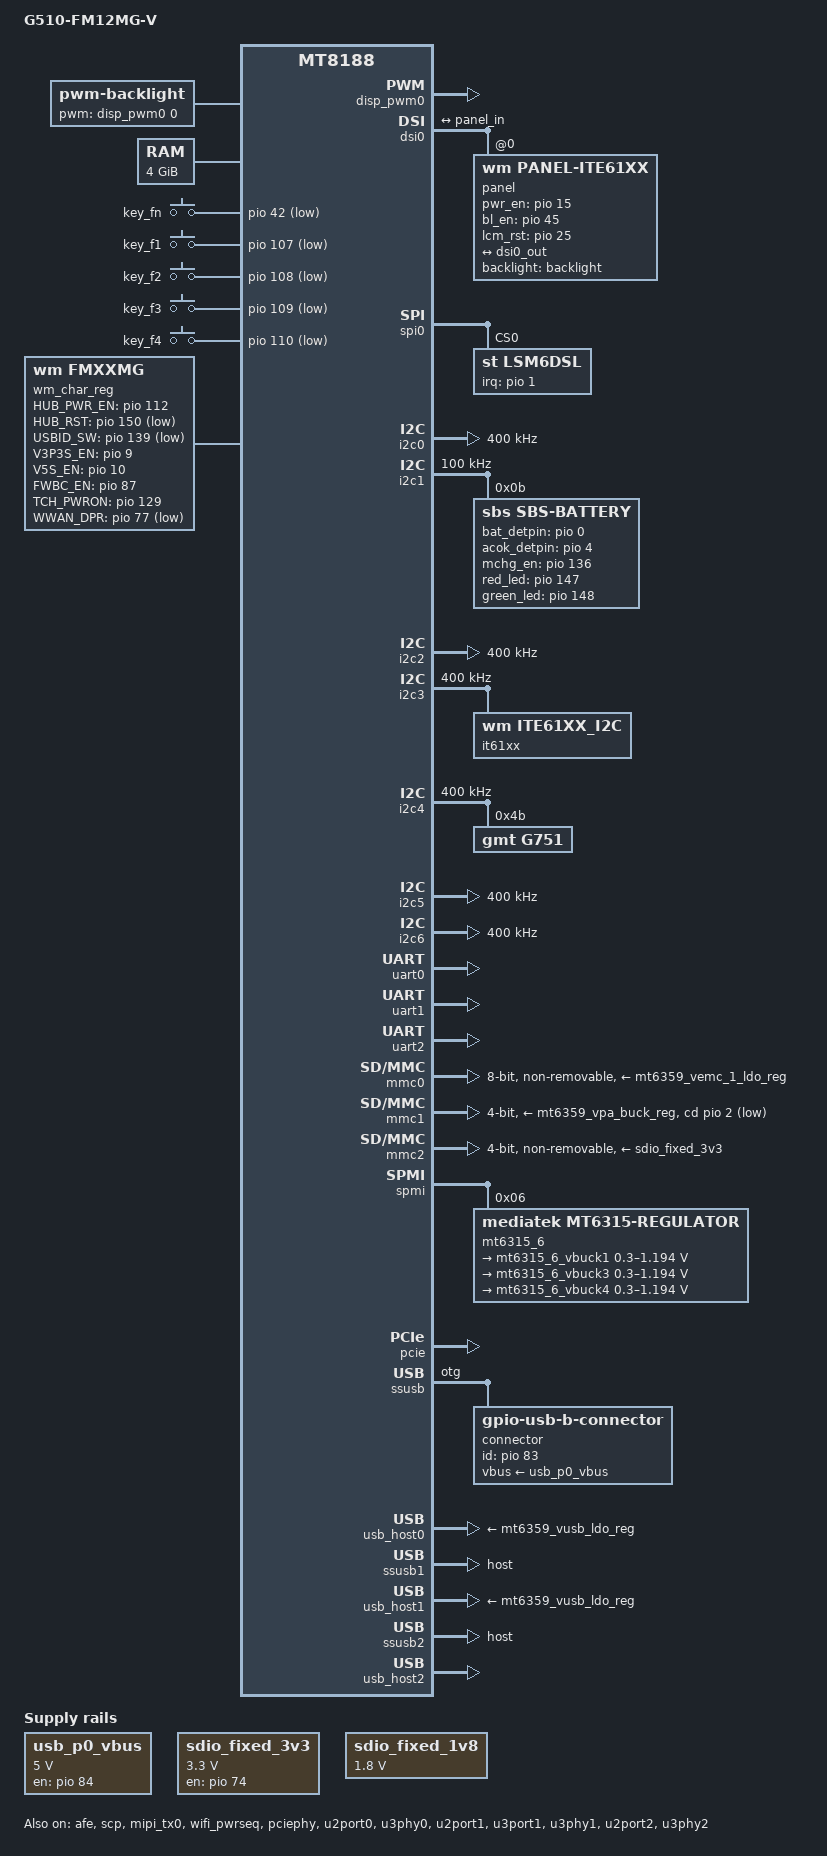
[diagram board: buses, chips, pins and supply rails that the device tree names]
// SPDX-License-Identifier: (GPL-2.0 OR MIT)
/*
 * Copyright (C) 2022 MediaTek Inc.
 * Author: Chris Chen <chris-qj.chen@mediatek.com>
 */
/dts-v1/;
#include "mt8370.dtsi"
#include "mt6359.dtsi"
#include <dt-bindings/gpio/gpio.h>
#include <dt-bindings/input/input.h>
#include <dt-bindings/interrupt-controller/irq.h>
#include <dt-bindings/pinctrl/mediatek,mt8188-pinfunc.h>
#include <dt-bindings/usb/pd.h>
#include <dt-bindings/panel/paneltype.h>

#define DEF_GPIO_HIGH 	1
#define DEF_GPIO_LOW 	0

/ {
	model = "G510-FM12MG-V";
	compatible = "mediatek,mt8370-evk", "mediatek,mt8188";

	aliases {
		serial0 = &uart0;
		dsi0 = &dsi0;
		ethernet0 = &eth;
	};

	backlight: backlight {
		compatible = "pwm-backlight";
		pwms = <&disp_pwm0 0 PWM_FEQ>;
		brightness-levels = <40 1023>;
		num-interpolated-steps = <1023>;
		default-brightness-level = <576>;
		enable-active-high;
		status = "okay";
	};	

	chosen {
		stdout-path = "serial0:921600n8";
	};

	memory@40000000 {
		device_type = "memory";
		reg = <0 0x40000000 0x1 0x00000000>;//ram size--> 0x2: 8G 0x1:4G
	};

	reserved-memory {
		#address-cells = <2>;
		#size-cells = <2>;
		ranges;

		apu_reserve_memory: apu-reserve-memory{
			compatible = "shared-dma-pool";
			size = <0 0x1400000>; //20 MB
			alignment = <0 0x10000>;
			reg = <0 0x55000000 0 0x1400000>;
		};

		vpu_reserve_memory: vpu-reserve-memory {
			compatible = "shared-dma-pool";
			size = <0 0x1400000>; //20 MB
			alignment = <0 0x10000>;
			reg = <0 0x57000000 0 0x1400000>;
		};

		/* 12 MiB reserved for OP-TEE (BL32)
		 * +-----------------------+ 0x43e0_0000
		 * |      SHMEM 2MiB       |
		 * +-----------------------+ 0x43c0_0000
		 * |        | TA_RAM  8MiB |
		 * + TZDRAM +--------------+ 0x4340_0000
		 * |        | TEE_RAM 2MiB |
		 * +-----------------------+ 0x4320_0000
		 */
		optee_reserved: optee@43200000 {
			no-map;
			reg = <0 0x43200000 0 0x00c00000>;
		};

		scp_mem_reserved: scp-mem-region {
			compatible = "shared-dma-pool";
			reg = <0 0x50000000 0 0x2900000>;
			no-map;
		};

		/* 2 MiB reserved for ARM Trusted Firmware (BL31) */
		bl31_secmon_reserved: secmon@54600000 {
			no-map;
			reg = <0 0x54600000 0x0 0x200000>;
		};
	};

	gpio-keys {
		compatible = "gpio-keys";
		input-name = "gpio-keys";
		pinctrl-names = "default";
		pinctrl-0 = <&gpio_keys>;
		status = "okay";

		key_fn {
				label = "key_fn";
				gpios = <&pio 42 GPIO_ACTIVE_LOW>;
				linux,input-type = <1>;
				linux,code = <0x1d0>;// KEY_FN <0x1d0>
				debounce-interval = <15>;
		};

		key_f1 {
				label = "key_f1";
				gpios = <&pio 107 GPIO_ACTIVE_LOW>;
				linux,input-type = <1>;
				linux,code = <59>;// KEY_F1 <60>
				debounce-interval = <15>;
		};

		key_f2 {
				label = "key_f2";
				gpios = <&pio 108 GPIO_ACTIVE_LOW>;
				linux,input-type = <1>;
				linux,code = <60>;// KEY_F2 <61>
				debounce-interval = <15>;
		};

		key_f3 {
				label = "key_f3";
				gpios = <&pio 109 GPIO_ACTIVE_LOW>;
				linux,input-type = <1>;
				linux,code = <61>;// KEY_F3 <62>
				debounce-interval = <15>;
		};

		key_f4 {
				label = "key_f4";
				gpios = <&pio 110 GPIO_ACTIVE_LOW>;
				linux,input-type = <1>;
				linux,code = <62>;// KEY_F4 <63>
				debounce-interval = <15>;
		};

	};

	firmware {
		optee {
			compatible = "linaro,optee-tz";
			method = "smc";
		};
	};

	usb_p0_vbus: usb0-otg-vbus {
		compatible = "regulator-fixed";
		regulator-name = "p0_vbus";
		regulator-min-microvolt = <5000000>;
		regulator-max-microvolt = <5000000>;
		gpio = <&pio 84 GPIO_ACTIVE_HIGH>;
		enable-active-high;
	};

	sdio_fixed_3v3: regulator@2 {
		compatible = "regulator-fixed";
		regulator-name = "sdio_card";
		regulator-min-microvolt = <3300000>;
		regulator-max-microvolt = <3300000>;
		gpio = <&pio 74 0>;
		regulator-boot-on;
		enable-active-high;
		regulator-always-on;
	};

	sdio_fixed_1v8: regulator@3 {
		compatible = "regulator-fixed";
		regulator-name = "sdio_io";
		regulator-min-microvolt = <1800000>;
		regulator-max-microvolt = <1800000>;
		enable-active-high;
		regulator-always-on;
	};

	wm_char_reg: wm_char_reg {
		compatible		= "wm,fmXXmg";
		pinctrl-names	= "default";
		pinctrl-0		= <&wm_char_pins>;

		HUB_PWR_EN		= <&pio 112 GPIO_ACTIVE_HIGH>;
		HUB_RST			= <&pio 150 GPIO_ACTIVE_LOW>;
		USBID_SW		= <&pio 139 GPIO_ACTIVE_LOW>;

		//DK_DET		= < &pio 5 GPIO_ACTIVE_HIGH>;
		//DK_DET1		= < &pio 6 GPIO_ACTIVE_HIGH>;
		//FDK_DET0		= < &pio 8 GPIO_ACTIVE_HIGH>;
		//FDK_DET1		= < &pio 13 GPIO_ACTIVE_HIGH>;


		V3P3S_EN		= <&pio 9 GPIO_ACTIVE_HIGH>;
		V5S_EN			= <&pio 10 GPIO_ACTIVE_HIGH>;
		FWBC_EN			= <&pio 87 GPIO_ACTIVE_HIGH>;	//EC_WBC_E
		//FWBC_LED		= <&pio 118 GPIO_ACTIVE_HIGH>;	//WBCLED_R_EN
		TCH_PWRON		= <&pio 129 GPIO_ACTIVE_HIGH>;
//
		WWAN_DPR		= <&pio 77 GPIO_ACTIVE_LOW>;
		WAKE_ON_WAN		= <&pio 78 GPIO_ACTIVE_LOW>;// WAKE_ON_WAN#
		WWAN_PWR_CARD	= <&pio 81 GPIO_ACTIVE_LOW>;//WWAN_CARD_PWR_OFF_N
		WWAN_RESET		= <&pio 113 GPIO_ACTIVE_LOW>;//RESET_5G
		WWAN_DIS		= <&pio 138 GPIO_ACTIVE_LOW>;
		WWAN_PWR_5G		= <&pio 143 GPIO_ACTIVE_LOW>; //POWER_ON_OFF_5G 


		BT_LED       	= <&pio 133 GPIO_ACTIVE_LOW>;
		WIFI_LED		= <&pio 134 GPIO_ACTIVE_LOW>;
		//STOP_LED		= <&pio 135 GPIO_ACTIVE_LOW>;
		//HDD_LED		= <&pio 131 GPIO_ACTIVE_LOW>;
		PWR_LED 		= <&pio 116 GPIO_ACTIVE_LOW>;
		
//		READLIGHT_EN	= <&pio 117 GPIO_ACTIVE_LOW>;
		HEAT_EN			= <&pio 149 GPIO_ACTIVE_LOW>;
//		KEY_BL_PWM		= <&pio 46 GPIO_ACTIVE_LOW>;
//		KEY_BL_EN		= <&pio 114 GPIO_ACTIVE_LOW>;
//
		COM1_RI_5V		= <&pio 119 GPIO_ACTIVE_LOW>;
		COM2_RI_5V		= <&pio 120 GPIO_ACTIVE_LOW>;

		//WIFI_ANT_CH0	= <&pio 80 GPIO_ACTIVE_HIGH>;
		//WIFI_ANT_CH1	= <&pio 79 GPIO_ACTIVE_HIGH>;
		//LTE_ANT_CTL		= <&pio 142 GPIO_ACTIVE_LOW>;
		//GPS_EN			= <&pio 115 GPIO_ACTIVE_HIGH>;
		SPK1_EN			= <&pio 130 GPIO_ACTIVE_LOW>;
		status			= "okay";
	};


};



&afe {
	compatible = "mediatek,mt8188-afe";
	#sound-dai-cells = <0>;
	mediatek,dmic-iir-on;
	mediatek,dmic-clk-mono;
	status = "okay";
};


&disp_pwm0 {
	pinctrl-names = "default";
	pinctrl-0 = <&pwm0_gpio_def_cfg>;
	status = "okay";
};

&dsi0 {
	#address-cells = <1>;
	#size-cells = <0>;
	status = "okay";
	poweron-in-hs-mode = <1>; //high clock mode
	panel@wm {
		compatible = "wm,panel-ite61xx";
		backlight = <&backlight>;
		reg = <0>;
		pinctrl-names = "default";
		pinctrl-0 = <&panel_pins>;
		pwr_en-gpios = <&pio 15 GPIO_ACTIVE_HIGH>;
		bl_en-gpios = <&pio 45 GPIO_ACTIVE_HIGH>;
		lcm_rst-gpios = <&pio 25 GPIO_ACTIVE_HIGH>;
		status = "okay";
		port {
			panel_in: endpoint {
				remote-endpoint = <&dsi0_out>;
			};
		};
	};

	port {
		dsi0_out: endpoint {
			remote-endpoint = <&panel_in>;
		};
	};
};

&dmic_codec {
	compatible = "dmic-codec";
	wakeup-delay-ms = <200>;
};

&pio {
	aud_pins_default: audiodefault {
		pins-cmd-dat {
			pinmux = <PINMUX_GPIO101__FUNC_O_AUD_CLK_MOSI>,
				 <PINMUX_GPIO102__FUNC_O_AUD_SYNC_MOSI>,
				 <PINMUX_GPIO103__FUNC_O_AUD_DAT_MOSI0>,
				 <PINMUX_GPIO104__FUNC_O_AUD_DAT_MOSI1>,
				 <PINMUX_GPIO105__FUNC_I0_AUD_DAT_MISO0>,
				 <PINMUX_GPIO106__FUNC_I0_AUD_DAT_MISO1>,
				 <PINMUX_GPIO121__FUNC_B0_PCM_CLK>,
				 <PINMUX_GPIO122__FUNC_B0_PCM_SYNC>,
				 <PINMUX_GPIO123__FUNC_O_PCM_DO>,
				 <PINMUX_GPIO124__FUNC_I0_PCM_DI>,
				 <PINMUX_GPIO125__FUNC_O_DMIC1_CLK>,
				 <PINMUX_GPIO126__FUNC_I0_DMIC1_DAT>;
		};
	};

	gpio_keys: gpio_keys {
		pins_gpio {
			pinmux =<PINMUX_GPIO42__FUNC_B1_KPCOL0>;//,	//FM12MB KBSIN5 shorts KBSIN0
			bias-pull-up = <MTK_PUPD_SET_R1R0_11>;
		};
	};

	uart0_pins: uart0-pins {
		pins {
			pinmux = <PINMUX_GPIO31__FUNC_O_UTXD0>,
				 <PINMUX_GPIO32__FUNC_I1_URXD0>;
			bias-pull-up;
		};
	};

	uart1_pins: uart1-pins {
		pins {
			pinmux = <PINMUX_GPIO33__FUNC_O_UTXD1>,
				 <PINMUX_GPIO34__FUNC_I1_URXD1>;
			bias-pull-up;
		};
	};

	uart2_pins: uart2-pins {
		pins {
			pinmux = <PINMUX_GPIO35__FUNC_O_UTXD2>,
				 <PINMUX_GPIO36__FUNC_I1_URXD2>;
			bias-pull-up;
		};
	};

	i2c0_pin: i2c0-pin {
		pins-bus {
			pinmux = <PINMUX_GPIO56__FUNC_B1_SDA0>,
				 <PINMUX_GPIO55__FUNC_B1_SCL0>;
			bias-pull-up;
			mediatek,rsel = <MTK_PULL_SET_RSEL_111>;
			mediatek,drive-strength-adv = <7>;
		};
	};

	i2c1_pin: i2c1-pin {
		pins-bus {
			pinmux = <PINMUX_GPIO58__FUNC_B1_SDA1>,
				 <PINMUX_GPIO57__FUNC_B1_SCL1>;
			bias-pull-up;
			mediatek,rsel = <MTK_PULL_SET_RSEL_111>;
			mediatek,drive-strength-adv = <7>;
		};
	};

	i2c2_pin: i2c2-pin {
		pins-bus {
			pinmux = <PINMUX_GPIO60__FUNC_B1_SDA2>,
				 <PINMUX_GPIO59__FUNC_B1_SCL2>;
			bias-pull-up;
			mediatek,rsel = <MTK_PULL_SET_RSEL_111>;
			mediatek,drive-strength-adv = <7>;
		};
	};

	i2c3_pin: i2c3-pin {
		pins-bus {
			pinmux = <PINMUX_GPIO62__FUNC_B1_SDA3>,
				 <PINMUX_GPIO61__FUNC_B1_SCL3>;
			bias-pull-up;
			mediatek,rsel = <MTK_PULL_SET_RSEL_111>;
			mediatek,drive-strength-adv = <7>;
		};
	};

	i2c4_pin: i2c4-pin {
		pins-bus {
			pinmux = <PINMUX_GPIO64__FUNC_B1_SDA4>,
				 <PINMUX_GPIO63__FUNC_B1_SCL4>;
			bias-pull-up;
			mediatek,rsel = <MTK_PULL_SET_RSEL_111>;
			mediatek,drive-strength-adv = <7>;
		};
	};

	i2c5_pin: i2c5-pin {
		pins-bus {
			pinmux = <PINMUX_GPIO66__FUNC_B1_SDA5>,
				 <PINMUX_GPIO65__FUNC_B1_SCL5>;
			bias-pull-up;
			mediatek,rsel = <MTK_PULL_SET_RSEL_111>;
			mediatek,drive-strength-adv = <7>;
		};
	};

	i2c6_pin: i2c6-pin {
		pins-bus {
			pinmux = <PINMUX_GPIO68__FUNC_B1_SDA6>,
				 <PINMUX_GPIO67__FUNC_B1_SCL6>;
			bias-pull-up;
			mediatek,rsel = <MTK_PULL_SET_RSEL_111>;
			mediatek,drive-strength-adv = <7>;
		};
	};

	panel_pins: panel-pins {
		panel-bl {//BL
			pinmux = <PINMUX_GPIO45__FUNC_B_GPIO45>;
			output-low;
		};

		panel-en {//power
			pinmux = <PINMUX_GPIO15__FUNC_B_GPIO15>;
			output-low;
		};

		panel-rst {//rst
			pinmux = <PINMUX_GPIO25__FUNC_B_GPIO25>;
			output-high;
		};
	};
	
	pwm0_gpio_def_cfg: pwm0default {
		pins_cmd_dat {
			pinmux = <PINMUX_GPIO29__FUNC_O_DISP_PWM0>;
			output-high;
		};
	};

	mmc0_pins_default: mmc0default {
		pins-cmd-dat {
			pinmux =<PINMUX_GPIO161__FUNC_B1_MSDC0_DAT0>,
					<PINMUX_GPIO160__FUNC_B1_MSDC0_DAT1>,
					<PINMUX_GPIO159__FUNC_B1_MSDC0_DAT2>,
					<PINMUX_GPIO158__FUNC_B1_MSDC0_DAT3>,
					<PINMUX_GPIO154__FUNC_B1_MSDC0_DAT4>,
					<PINMUX_GPIO153__FUNC_B1_MSDC0_DAT5>,
					<PINMUX_GPIO152__FUNC_B1_MSDC0_DAT6>,
					<PINMUX_GPIO151__FUNC_B1_MSDC0_DAT7>,
					<PINMUX_GPIO156__FUNC_B1_MSDC0_CMD>;
			input-enable;
			drive-strength = <MTK_DRIVE_6mA>;
			bias-pull-up = <MTK_PUPD_SET_R1R0_01>;
		};

		pins-clk {
			pinmux = <PINMUX_GPIO157__FUNC_B1_MSDC0_CLK>;
			drive-strength = <MTK_DRIVE_6mA>;
			bias-pull-down = <MTK_PUPD_SET_R1R0_10>;
		};

		pins-rst {
			pinmux = <PINMUX_GPIO155__FUNC_O_MSDC0_RSTB>;
			drive-strength = <MTK_DRIVE_6mA>;
			bias-pull-up = <MTK_PUPD_SET_R1R0_01>;
		};
	};

	mmc0_pins_uhs: mmc0uhs{
		pins-cmd-dat {
			pinmux =<PINMUX_GPIO161__FUNC_B1_MSDC0_DAT0>,
					<PINMUX_GPIO160__FUNC_B1_MSDC0_DAT1>,
					<PINMUX_GPIO159__FUNC_B1_MSDC0_DAT2>,
					<PINMUX_GPIO158__FUNC_B1_MSDC0_DAT3>,
					<PINMUX_GPIO154__FUNC_B1_MSDC0_DAT4>,
					<PINMUX_GPIO153__FUNC_B1_MSDC0_DAT5>,
					<PINMUX_GPIO152__FUNC_B1_MSDC0_DAT6>,
					<PINMUX_GPIO151__FUNC_B1_MSDC0_DAT7>,
					<PINMUX_GPIO156__FUNC_B1_MSDC0_CMD>;
			input-enable;
			drive-strength = <MTK_DRIVE_8mA>;
			bias-pull-up = <MTK_PUPD_SET_R1R0_01>;
		};

		pins-clk {
			pinmux = <PINMUX_GPIO157__FUNC_B1_MSDC0_CLK>;
			drive-strength = <MTK_DRIVE_8mA>;
			bias-pull-down = <MTK_PUPD_SET_R1R0_10>;
		};

		pins-ds {
			pinmux = <PINMUX_GPIO162__FUNC_B0_MSDC0_DSL>;
			drive-strength = <MTK_DRIVE_8mA>;
			bias-pull-down = <MTK_PUPD_SET_R1R0_10>;
		};

		pins-rst {
			pinmux = <PINMUX_GPIO155__FUNC_O_MSDC0_RSTB>;
			drive-strength = <MTK_DRIVE_8mA>;
			bias-pull-up = <MTK_PUPD_SET_R1R0_01>;
		};
	};

	mmc1_pins_default: mmc1default {
		pins-cmd-dat {
			pinmux =<PINMUX_GPIO163__FUNC_B1_MSDC1_CMD>,
					<PINMUX_GPIO165__FUNC_B1_MSDC1_DAT0>,
					<PINMUX_GPIO166__FUNC_B1_MSDC1_DAT1>,
					<PINMUX_GPIO167__FUNC_B1_MSDC1_DAT2>,
					<PINMUX_GPIO168__FUNC_B1_MSDC1_DAT3>;
			input-enable;
			drive-strength = <MTK_DRIVE_6mA>;
			bias-pull-up = <MTK_PUPD_SET_R1R0_01>;
		};

		pins-clk {
			pinmux = <PINMUX_GPIO164__FUNC_B1_MSDC1_CLK>;
			drive-strength = <MTK_DRIVE_6mA>;
			bias-pull-down = <MTK_PUPD_SET_R1R0_10>;
		};

		pins-insert {
			pinmux = <PINMUX_GPIO2__FUNC_B_GPIO2>;
			bias-pull-up;
		};
	};

	mmc1_pins_uhs: mmc1uhs {
		pins-cmd-dat {
			pinmux =<PINMUX_GPIO163__FUNC_B1_MSDC1_CMD>,
					<PINMUX_GPIO165__FUNC_B1_MSDC1_DAT0>,
					<PINMUX_GPIO166__FUNC_B1_MSDC1_DAT1>,
					<PINMUX_GPIO167__FUNC_B1_MSDC1_DAT2>,
					<PINMUX_GPIO168__FUNC_B1_MSDC1_DAT3>;
			input-enable;
			drive-strength = <MTK_DRIVE_6mA>;
			bias-pull-up = <MTK_PUPD_SET_R1R0_01>;
		};

		pins-clk {
			pinmux = <PINMUX_GPIO164__FUNC_B1_MSDC1_CLK>;
			drive-strength = <MTK_DRIVE_6mA>;
			bias-pull-down = <MTK_PUPD_SET_R1R0_10>;
		};
	};

	mmc2_pins_default: mmc2default {
		pins-clk {
			pinmux = <PINMUX_GPIO170__FUNC_B1_MSDC2_CLK>;
			drive-strength = <MTK_DRIVE_4mA>;
			bias-pull-down = <MTK_PUPD_SET_R1R0_10>;
		};

		pins-cmd-dat {
			pinmux =<PINMUX_GPIO169__FUNC_B1_MSDC2_CMD>,
					<PINMUX_GPIO171__FUNC_B1_MSDC2_DAT0>,
					<PINMUX_GPIO172__FUNC_B1_MSDC2_DAT1>,
					<PINMUX_GPIO173__FUNC_B1_MSDC2_DAT2>,
					<PINMUX_GPIO174__FUNC_B1_MSDC2_DAT3>;
			input-enable;
			drive-strength = <MTK_DRIVE_6mA>;
			bias-pull-up = <MTK_PUPD_SET_R1R0_01>;
		};
	};

	mmc2_pins_uhs: mmc2uhs {
		pins-clk {
			pinmux = <PINMUX_GPIO170__FUNC_B1_MSDC2_CLK>;
			drive-strength = <MTK_DRIVE_4mA>;
			bias-pull-down = <MTK_PUPD_SET_R1R0_10>;
		};

		pins-cmd-dat {
			pinmux =<PINMUX_GPIO169__FUNC_B1_MSDC2_CMD>,
					<PINMUX_GPIO171__FUNC_B1_MSDC2_DAT0>,
					<PINMUX_GPIO172__FUNC_B1_MSDC2_DAT1>,
					<PINMUX_GPIO173__FUNC_B1_MSDC2_DAT2>,
					<PINMUX_GPIO174__FUNC_B1_MSDC2_DAT3>;
			input-enable;
			drive-strength = <MTK_DRIVE_6mA>;
			bias-pull-up = <MTK_PUPD_SET_R1R0_01>;
		};
	};

	mmc2_pins_eint: dat1-eint {
		pins-dat1 {
			pinmux = <PINMUX_GPIO172__FUNC_B_GPIO172>;
			input-enable;
			bias-pull-up = <MTK_PUPD_SET_R1R0_01>;
		};
	};

	mmc2_pins_dat1: sdio-dat1 {
		pins-dat1 {
			pinmux = <PINMUX_GPIO172__FUNC_B1_MSDC2_DAT1>;
			input-enable;
			drive-strength = <MTK_DRIVE_6mA>;
			bias-pull-up = <MTK_PUPD_SET_R1R0_01>;
		};
	};

	wifi_pins_pwrseq: wifipwrseq {
		pins-wifi-enable {
			pinmux = <PINMUX_GPIO127__FUNC_B_GPIO127>;
			output-low;
		};
	};

	pcie_pins_default: pcie-default {
		mux {
			pinmux =<PINMUX_GPIO47__FUNC_I1_WAKEN>,
					<PINMUX_GPIO48__FUNC_O_PERSTN>,
					<PINMUX_GPIO49__FUNC_B1_CLKREQN>;
			bias-pull-up;
		};
	};

	usb_default: usbdefault {
		iddig-pin {
			pinmux = <PINMUX_GPIO83__FUNC_B_GPIO83>;
			input-enable;
			bias-pull-up;
		};

		vbus-pins {
			pinmux = <PINMUX_GPIO84__FUNC_O_USB_DRVVBUS>;
			output-high;
		};

		valid-pin {
			pinmux = <PINMUX_GPIO85__FUNC_I0_VBUSVALID>;
			input-enable;
		};
	};

	wm_char_pins: wm_char_pins {
		pins_gpio {
			pinmux =
					<PINMUX_GPIO9__FUNC_B_GPIO9>,		//+V3.3S
					<PINMUX_GPIO10__FUNC_B_GPIO10>,		//+V5S
					<PINMUX_GPIO87__FUNC_B_GPIO87>,		//EC_WBC_E (FCAM_PWR)
					<PINMUX_GPIO112__FUNC_B_GPIO112>,	//HUB_PWR_EN
					<PINMUX_GPIO115__FUNC_B_GPIO115>,	//GPS_EN
					<PINMUX_GPIO116__FUNC_B_GPIO116>,	//power_led
					<PINMUX_GPIO129__FUNC_B_GPIO129>,	//TCH_PWRON
					<PINMUX_GPIO130__FUNC_B_GPIO130>,	//+SPK1_EN
					<PINMUX_GPIO132__FUNC_B_GPIO132>,	//SIM1_DET 
					<PINMUX_GPIO133__FUNC_B_GPIO133>, 	//BT_LED_N 
					<PINMUX_GPIO134__FUNC_B_GPIO134>,	//RF_LED_N(wifi)
					<PINMUX_GPIO144__FUNC_B_GPIO144>;	//SIM2_DET 
			output-high;
		};

		pin_low {
			pinmux =<PINMUX_GPIO46__FUNC_B_GPIO46>, 	//KEY_BL_PWM
					<PINMUX_GPIO79__FUNC_B_GPIO79>, 	//WIFI_ANT_CH1_CTL
					<PINMUX_GPIO80__FUNC_B_GPIO80>, 	//WIFI_ANT_CH0_CTL
					<PINMUX_GPIO114__FUNC_B_GPIO114>,	//KEY_BL_EN
					<PINMUX_GPIO117__FUNC_B_GPIO117>,	//READLIGHT_EN_R
					<PINMUX_GPIO118__FUNC_B_GPIO118>,	//WBCLED_R_EN
					<PINMUX_GPIO119__FUNC_B_GPIO119>,	//COM2_RI_5V_R
					<PINMUX_GPIO120__FUNC_B_GPIO120>,	//COM1_RI_5V_R
					<PINMUX_GPIO131__FUNC_B_GPIO131>,	//HDD_LED_N
					<PINMUX_GPIO135__FUNC_B_GPIO135>,	//STOP_LED_N
					<PINMUX_GPIO139__FUNC_B_GPIO139>,	//GPIO17_USBID_SW low:host
					<PINMUX_GPIO142__FUNC_B_GPIO142>,	//3G_ANT_CTL
					<PINMUX_GPIO149__FUNC_B_GPIO149>,	//HEAT_EN
					<PINMUX_GPIO150__FUNC_B_GPIO150>,	//HUB_RESET
					<PINMUX_GPIO113__FUNC_B_GPIO113>,	//RESET_5G
					<PINMUX_GPIO81__FUNC_B_GPIO81>,		//WWAN_CARD_PWR_OFF_N
					<PINMUX_GPIO77__FUNC_B_GPIO77>,		//WWAN_DPR
					<PINMUX_GPIO78__FUNC_B_GPIO78>,		//WAKE_ON_WAN
					<PINMUX_GPIO138__FUNC_B_GPIO138>,	//WWAN_DIS
					<PINMUX_GPIO143__FUNC_B_GPIO143>;	//POWER_ON_OFF_5G
			output-low;
		};

		pin_in {
			pinmux =<PINMUX_GPIO5__FUNC_B_GPIO5>,	//DK_DET
					<PINMUX_GPIO6__FUNC_B_GPIO6>,	//DK_DET1
					<PINMUX_GPIO8__FUNC_B_GPIO8>,	//FRONT_DET0
					<PINMUX_GPIO13__FUNC_B_GPIO13>;	//FRONT_DET1
			bias-pull-up;
			input-enable;
		};

		pin_key{
			pinmux =<PINMUX_GPIO82__FUNC_B_GPIO82>,		//KBSIN0
					<PINMUX_GPIO107__FUNC_B_GPIO107>,	//KBSIN1
					<PINMUX_GPIO108__FUNC_B_GPIO108>,	//KBSIN2
					<PINMUX_GPIO109__FUNC_B_GPIO109>,	//KBSIN3
					<PINMUX_GPIO110__FUNC_B_GPIO110>;	//KBSIN4
			bias-pull-up;
			input-enable;
		};
	};

	spi0_pins: spi0-pins {
		pins-spi {
			pinmux = <PINMUX_GPIO69__FUNC_O_SPIM0_CSB>,
				<PINMUX_GPIO70__FUNC_O_SPIM0_CLK>,
				<PINMUX_GPIO71__FUNC_B0_SPIM0_MOSI>,
				<PINMUX_GPIO72__FUNC_B0_SPIM0_MISO>;
			bias-disable;
		};
	};

	lsm6dsl_pins: lsm6dsl-pins {
		pins-lsm6dsl {//GYRO
			pinmux = <PINMUX_GPIO1__FUNC_B_GPIO1>;
			input-enable;
			bias-pull-up;
		};
	};

	tmg49xx_pins: tmg49xx-pins {
		pins-tmg49xx {//ALS
			pinmux = <PINMUX_GPIO14__FUNC_B_GPIO14>;
			input-enable;
			bias-pull-up;
		};
	};

	battery_pin:battery_pin{
		pins-detect {
			pinmux =<PINMUX_GPIO4__FUNC_B_GPIO4>,	//acok det
					<PINMUX_GPIO0__FUNC_B_GPIO0>;  	//bat det

			input-enable;
			bias-pull-up;
		};
		pins-low {
			pinmux =<PINMUX_GPIO147__FUNC_B_GPIO147>,//RED_LED
					<PINMUX_GPIO148__FUNC_B_GPIO148>,//GREEN_LED
					<PINMUX_GPIO136__FUNC_B_GPIO136>;//charge enable
			output-low;
		};

		pins-high {
			pinmux =<PINMUX_GPIO88__FUNC_B_GPIO88>;//CHG_VSEL
			output-high;
		};
	};

};

&spi0 {
    pinctrl-names = "default";
    pinctrl-0 = <&spi0_pins>;
    mediatek,pad-select = <0>;

    #address-cells = <1>;
    #size-cells = <0>;
    status = "okay";
	lsm6dsl@0 {
		compatible = "st,lsm6dsl";
		reg = <0>;

        pinctrl-names = "default";
        pinctrl-0 = <&lsm6dsl_pins>;
 		interrupt-parent = <&pio>;
        interrupts = <1 IRQ_TYPE_EDGE_FALLING>;

		st,init-odr = <26>;  //<-- Set G-Sensor+GYRO - ICM42607(LSM6DSLTR) initial frequency to 26 Hz

		mount-matrix = "1", "0", "0",
				"0", "1", "0",
				"0", "0", "1";
	};

};

&i2c0 {
	pinctrl-names = "default";
	pinctrl-0 = <&i2c0_pin>;
	clock-frequency = <400000>;
	status = "okay";
};

&i2c1 {
	pinctrl-names = "default";
	pinctrl-0 = <&i2c1_pin>;
	clock-frequency = <100000>;
	status = "okay";

	sbs-battery@0b{
		compatible = "sbs,sbs-battery";
		reg = <0x0b>;
		status = "okay";
		pinctrl-names = "default";
		pinctrl-0 = <&battery_pin>;
		sbs,i2c-retry-count = <2>;
		sbs,poll-retry-count = <2>;
		//noCtrlLed;
		//Chg_OrangeLed;
		bat_detpin		= <&pio 0 0>;

		acok_detpin		= <&pio 4 0>; 
		//chg_vsel		= <&pio 88 0>; 
		mchg_en			= <&pio 136 0>; 
		red_led			= <&pio 147 0>; 
		green_led		= <&pio 148 0>;
		
		mapping_Lower_Limit = <20>;
 		mapping_Upper_Limit = <100>;

    };

};

&i2c2 {
	pinctrl-names = "default";
	pinctrl-0 = <&i2c2_pin>;
	clock-frequency = <400000>;
	status = "okay";
	//tmg49xx: tmg49xx@39 {
	//	compatible         = "ams,tmg49xx";
	//	pinctrl-names = "default";
	//	pinctrl-0 = <&tmg49xx_pins>;
	//	reg                = <0x39>;     /*0x39 for hardware*/
	//	interrupt-parent   = <&pio>;
	//	interrupts         = <11 IRQ_TYPE_LEVEL_LOW>;/*high-to-low trigger*/
	//	status = "okay";
	//	polling_mode_ps = <0>;
	//	polling_mode_als = <1>;
	//	power_id = <0xffff>;
	//	power_vol = <0>;
	//	als_level =
	//			<0 1 1 7 15 15 100 1000 2000 3000
	//			6000 10000 14000 18000 20000>;
	//	als_value =
	//			<40 40 90 90 160 160 225 320 640 1280
	//			1280 2600 2600 2600 10240 10240>;
	//	ps_threshold_high = <900>;
	//	ps_threshold_low = <600>;
	//	is_batch_supported_ps = <0>;
	//	is_batch_supported_als = <0>;
	//};
};

&i2c3 {
	pinctrl-names = "default";
	pinctrl-0 = <&i2c3_pin>;
	clock-frequency = <400000>;
	status = "okay";
	it61xx: mipi2xxx@ite{
		compatible = "wm,ite61xx_i2c";
		reg = <MAIN_I2C_ADDR>;
		status = "okay";
	};
};

&i2c4 {
	pinctrl-names = "default";
	pinctrl-0 = <&i2c4_pin>;
	clock-frequency = <400000>;
	status = "okay";
	g751@4b {
		compatible = "gmt,g751";
		reg = <0x4b>;
	};
};

&i2c5 {
	pinctrl-names = "default";
	pinctrl-0 = <&i2c5_pin>;
	clock-frequency = <400000>;
	status = "okay";
};

&i2c6 {
	pinctrl-names = "default";
	pinctrl-0 = <&i2c6_pin>;
	clock-frequency = <400000>;
	status = "okay";
};

&pmic {
	interrupt-parent = <&pio>;
	interrupts = <222 IRQ_TYPE_LEVEL_HIGH>;

	pmic_key: pmic-key {
		compatible = "mediatek,mt6359-keys";
		mediatek,long-press-mode = <1>;
		power-off-time-sec = <0>;

		power-key{
			linux,keycodes = <116>;
			wakeup-source;
		};

		home-key{
			linux,keycodes = <114>;
		};
	};
};

&scp {
	memory-region = <&scp_mem_reserved>;
	status = "okay";
};

&keypad {
	status = "disabled";
};

&mt6359codec {
	mediatek,mic-type-0 = <1>; /* ACC */
	mediatek,mic-type-1 = <3>; /* DCC */
};

&mt6359_vbbck_ldo_reg {
	regulator-always-on;
};

&mt6359_vcn33_2_bt_ldo_reg {
	regulator-always-on;
};

&mt6359_vcore_buck_reg {
	regulator-always-on;
};

&mt6359_vgpu11_buck_reg {
	regulator-always-on;
};

&mt6359_vpu_buck_reg {
	regulator-always-on;
};

&mt6359_vrf12_ldo_reg {
	regulator-always-on;
};

&mt6359_vufs_ldo_reg {
	regulator-always-on;
};

&uart0 {
	pinctrl-0 = <&uart0_pins>;
	pinctrl-names = "default";
	status = "okay";
};

&uart1 {
	pinctrl-0 = <&uart1_pins>;
	pinctrl-names = "default";
	status = "okay";
};

&uart2 {
	pinctrl-0 = <&uart2_pins>;
	pinctrl-names = "default";
	status = "okay";
};

&mipi_tx0 {
	status = "okay";
};

&mmc0 {
	status = "okay";
	pinctrl-names = "default", "state_uhs";
	pinctrl-0 = <&mmc0_pins_default>;
	pinctrl-1 = <&mmc0_pins_uhs>;
	bus-width = <8>;
	max-frequency = <200000000>;
	cap-mmc-highspeed;
	mmc-hs200-1_8v;
	mmc-hs400-1_8v;
	supports-cqe;
	cap-mmc-hw-reset;
	no-sdio;
	no-sd;
	hs400-ds-delay = <0x1481b>;
	vmmc-supply = <&mt6359_vemc_1_ldo_reg>;
	vqmmc-supply = <&mt6359_vufs_ldo_reg>;
	non-removable;
};

&mmc1 {
	status = "okay";
	pinctrl-names = "default", "state_uhs";
	pinctrl-0 = <&mmc1_pins_default>;
	pinctrl-1 = <&mmc1_pins_uhs>;
	bus-width = <4>;
	max-frequency = <208000000>;
	cap-sd-highspeed;
	//sd-uhs-sdr50;
	//sd-uhs-sdr104;
	no-mmc;
	no-sdio;
	cd-gpios = <&pio 2 GPIO_ACTIVE_LOW>;
	vmmc-supply = <&mt6359_vpa_buck_reg>;
	vqmmc-supply = <&mt6359_vsim1_ldo_reg>;
};

&mt6359_vpa_buck_reg {
	regulator-max-microvolt = <3100000>;
};

&mt6359_vsim1_ldo_reg {
	regulator-enable-ramp-delay = <480>;
};

&wifi_pwrseq {
	status = "okay";
	pinctrl-names = "default";
	pinctrl-0 = <&wifi_pins_pwrseq>;

	reset-gpios = <&pio 127 1>;
	post-power-on-delay-ms = <200>;
};

&mmc2 {
	status = "okay";
	pinctrl-names = "default", "state_uhs", "state_eint",
					"state_dat1";
	pinctrl-0 = <&mmc2_pins_default>;
	pinctrl-1 = <&mmc2_pins_uhs>;
	pinctrl-2 = <&mmc2_pins_eint>;
	pinctrl-3 = <&mmc2_pins_dat1>;
	eint-gpios = <&pio 172 0>;
	bus-width = <4>;
	max-frequency = <208000000>;
	cap-sd-highspeed;
	sd-uhs-sdr104;
	keep-power-in-suspend;
	enable-sdio-wakeup;
	cap-sdio-async-int;
	cap-sdio-irq;
	no-mmc;
	no-sd;
	non-removable;
	vmmc-supply = <&sdio_fixed_3v3>;
	vqmmc-supply = <&sdio_fixed_1v8>;
	mmc-pwrseq = <&wifi_pwrseq>;
};

&mt6359_vcn18_ldo_reg {
	regulator-always-on;
};

&spmi {
	mt6315_6: mt6315@6 {
		compatible = "mediatek,mt6315-regulator";
		reg = <0x6 0 0xb 1>;
		regulators {
			mt6315_6_vbuck1: vbuck1 {
				regulator-compatible = "vbuck1";
				regulator-name = "Vbcpu";
				regulator-min-microvolt = <300000>;
				regulator-max-microvolt = <1193750>;
				regulator-enable-ramp-delay = <256>;
				regulator-allowed-modes = <0 1 2>;
				regulator-always-on;
				mtk,combined-regulator = <2>;
			};
			mt6315_6_vbuck3: vbuck3 {
				regulator-compatible = "vbuck3";
				regulator-name = "Vdd2";
				regulator-min-microvolt = <300000>;
				regulator-max-microvolt = <1193750>;
				regulator-enable-ramp-delay = <256>;
				regulator-allowed-modes = <0 1 2>;
				regulator-always-on;
			};
			mt6315_6_vbuck4: vbuck4 {
				regulator-compatible = "vbuck4";
				regulator-name = "Vddq";
				regulator-min-microvolt = <300000>;
				regulator-max-microvolt = <1193750>;
				regulator-enable-ramp-delay = <256>;
				regulator-allowed-modes = <0 1 2>;
				regulator-always-on;
			};
		};
	};
};

&pcie {
	pinctrl-names = "default";
	pinctrl-0 = <&pcie_pins_default>;
	status = "okay";
};

&pciephy {
	status = "okay";
};

&ssusb {
	pinctrl-0 = <&usb_default>;
	pinctrl-names = "default";
	maximum-speed = "high-speed";
	usb-role-switch;
	dr_mode = "otg";
	vusb33-supply = <&mt6359_vusb_ldo_reg>;
	status = "okay";
	wakeup-source;

	connector {
		compatible = "gpio-usb-b-connector", "usb-b-connector";
		type = "micro";
		id-gpios = <&pio 83 GPIO_ACTIVE_HIGH>;
		vbus-supply = <&usb_p0_vbus>;
	};
};

&u2port0 {
	status = "okay";
};

&u3phy0 {
	status = "okay";
};

&usb_host0 {
	vbus-supply = <&mt6359_vusb_ldo_reg>;
	status = "okay";
};

&ssusb1 {
	vusb33-supply = <&mt6359_vusb_ldo_reg>;
	dr_mode = "host";
	//mediatek,usb3-drd;
	//usb-role-switch;
	mediatek,clk-mgr;
	mediatek,mtcmos-switch;
	mediatek,infra-switch;
	status = "okay";
	maximum-speed = "high-speed";
	wakeup-source;
};

&u2port1 {
	status = "okay";
};

&u3port1 {
	status = "okay";
};

&u3phy1 {
	status = "okay";
};

&usb_host1 {
	vbus-supply = <&mt6359_vusb_ldo_reg>;
	status = "okay";
};

&ssusb2 {
	maximum-speed = "high-speed";
	usb-role-switch;
	dr_mode = "host";
	vusb33-supply = <&mt6359_vusb_ldo_reg>;
	status = "okay";
	wakeup-source;

};

&u2port2 {
	status = "okay";
};

&u3phy2 {
	status = "okay";
};

&usb_host2 {
	status = "okay";
	vusb33-supply = <&mt6359_vusb_ldo_reg>;
};

&mfg0 {
	domain-supply = <&mt6359_vproc2_buck_reg>;
};

&sound {
	compatible = "mediatek,mt8390-evk";
	model = "mt8370-evk";
	pinctrl-names = "default";
	pinctrl-0 = <&aud_pins_default>;
	audio-routing =
		"Headphone", "Headphone L",
		"Headphone", "Headphone R",
		"AIN1", "Headset Mic",
		"DMIC_INPUT", "AP DMIC",
		"AP DMIC", "AUDGLB",
		"AP DMIC", "MIC_BIAS_0",
		"AP DMIC", "MIC_BIAS_2";
	status = "okay";

	dai-link-0 {
		sound-dai = <&afe>;
		dai-link-name = "ADDA_BE";
		status = "okay";

		codec-0 {
			sound-dai = <&pmic 0>;
		};

		codec-1 {
			sound-dai = <&dmic_codec>;
		};
	};

};

&cam_vcore {
	domain-supply = <&mt6359_vproc1_buck_reg>;
};

&img_vcore {
	domain-supply = <&mt6359_vproc1_buck_reg>;
};
